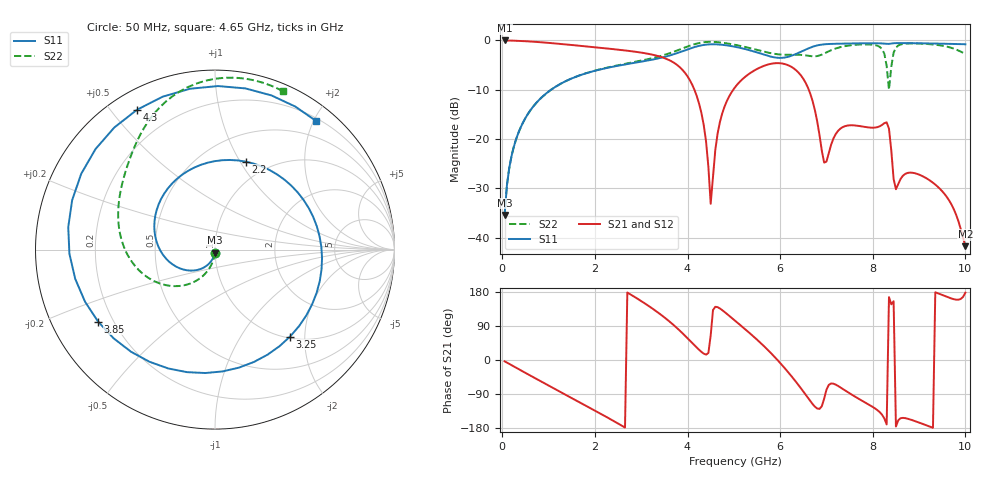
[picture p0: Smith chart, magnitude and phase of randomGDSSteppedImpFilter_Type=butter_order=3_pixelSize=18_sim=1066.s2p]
! freq	dB(S11)	phase(S11)	dB(S12)	phase(S12)
!  dB(S21)	phase(S21)	dB(S22)	phase(S22)
!S-par simulation data
#  GHz  S  DB  R 50
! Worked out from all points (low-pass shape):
!   200 points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, 50 MHz to 10 GHz, reference 50 ohm
!   highest |S21| = 0.00 dB at 50 MHz (marker M1); lowest = -41.7 dB at 10 GHz (marker M2)
!   |S21| within 3 dB of the highest: start of sweep to 3.298 GHz
!   lowest |S11| = -35.4 dB at 50 MHz (marker M3), VSWR 1.03, Z = 49.8 - j1.7 ohm
!   |S11| at or under -10 dB: start of sweep to 1.051 GHz
!   |S22| runs from -35.3 to -0.3 dB; largest |S21 - S12| = 0
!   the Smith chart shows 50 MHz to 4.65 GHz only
!   S11 on the Smith chart (normalised r, x): 50 MHz: 1.00, -0.03; 2.2 GHz: 0.79, +1.06; 3.25 GHz: 1.03, -1.69; 3.85 GHz: 0.14, -0.28; 4.3 GHz: 0.08, +0.58; 4.65 GHz: 0.24, +2.04
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0.05  -35.35 -94.6  -0.00 -3.4  -0.00 -3.4  -35.34 -92.7
0.5  -15.72 -134.8  -0.16 -34.0  -0.16 -34.0  -15.72 -115.0
1.75  -6.83 113.7  -1.15 -116.9  -1.15 -116.9  -6.82 -168.8
2.2  -5.69 70.6  -1.57 -146.9  -1.57 -146.9  -5.64 174.4
3.25  -3.87 -49.2  -2.90 135.1  -2.90 135.1  -3.57 138.6
3.4  -3.58 -70.9  -3.26 121.8  -3.26 121.8  -3.21 133.5
3.85  -2.33 -148.3  -5.58 75.5  -5.58 75.5  -1.76 116.0
4.3  -0.99 119.1  -14.72 21.4  -14.72 21.4  -0.43 90.1
4.5  -0.78 79.3  -33.10 64.7  -33.10 64.7  -0.28 76.7
4.65  -0.80 51.7  -18.83 139.4  -18.83 139.4  -0.35 66.9
5.05  -1.33 -13.6  -9.20 101.3  -9.20 101.3  -0.93 42.4
5.55  -2.58 -92.5  -5.55 48.2  -5.55 48.2  -2.03 13.5
6  -3.53 179.4  -4.62 -7.8  -4.62 -7.8  -2.85 -14.3
6.7  -1.29 50.9  -12.26 -116.2  -12.26 -116.2  -3.22 -135.2
6.95  -0.78 19.8  -24.76 -102.1  -24.76 -102.1  -2.65 141.5
7.15  -0.68 0.3  -19.87 -62.5  -19.87 -62.5  -1.80 91.7
7.8  -0.58 -43.4  -17.48 -109.6  -17.48 -109.6  -0.80 10.8
8.25  -0.64 -65.6  -16.76 -154.3  -16.76 -154.3  -2.69 -36.7
8.35  -0.69 -69.2  -17.89 165.9  -17.89 165.9  -9.95 -20.5
8.6  -0.54 -79.7  -28.07 -153.6  -28.07 -153.6  -0.82 -20.9
9.4  -0.64 -110.0  -29.62 176.3  -29.62 176.3  -0.92 -83.1
10  -0.77 -131.5  -41.69 177.8  -41.69 177.8  -2.74 -173.7
